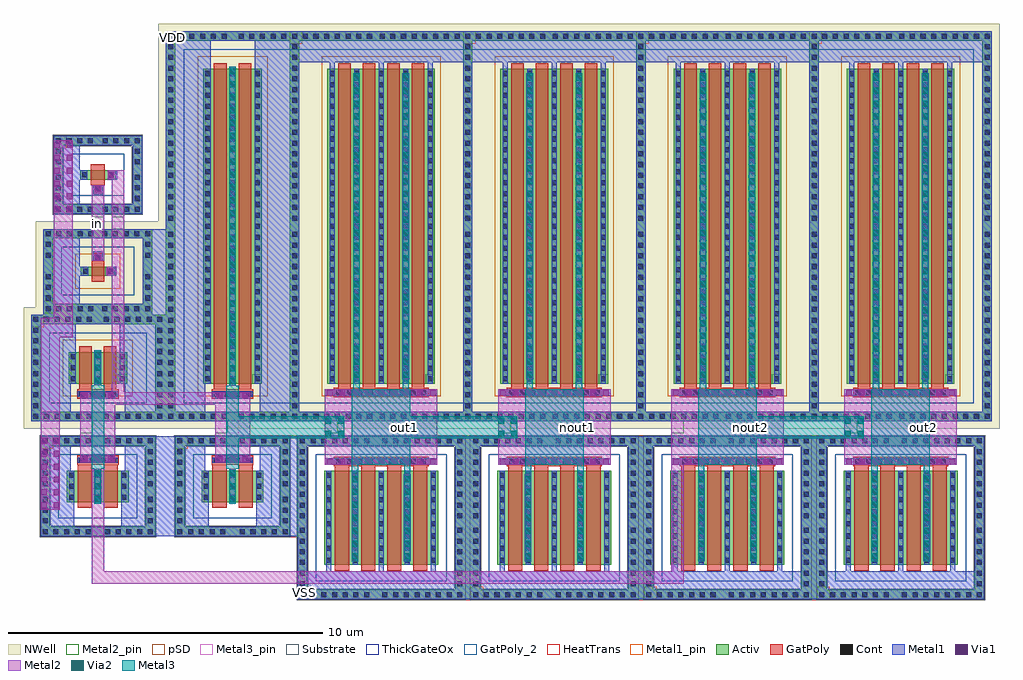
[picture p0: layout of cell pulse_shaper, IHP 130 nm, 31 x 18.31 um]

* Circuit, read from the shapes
.subckt pulse_shaper VDD VSS in nout1 nout2 out1 out2
XM1 hv_inverter_40u_5/in hv_inverter_0u3_1/out VSS VSS sg13_hv_nmos w=1u l=0.45u m=2
XM2 hv_inverter_0u3_1/out in VSS VSS sg13_hv_nmos w=0.3u l=0.45u
XM3 hv_inverter_40u_3/in hv_inverter_0u3_1/out VSS VSS sg13_hv_nmos w=1u l=0.45u m=2
XM4 out1 hv_inverter_40u_3/in VSS VSS sg13_hv_nmos w=3u l=0.45u m=4
XM5 nout1 out1 VSS VSS sg13_hv_nmos w=3u l=0.45u m=4
XM6 nout2 hv_inverter_40u_5/in VSS VSS sg13_hv_nmos w=3u l=0.45u m=4
XM7 out2 nout2 VSS VSS sg13_hv_nmos w=3u l=0.45u m=4
XM8 hv_inverter_40u_5/in hv_inverter_0u3_1/out VDD VDD sg13_hv_pmos w=1u l=0.4u m=2
XM9 hv_inverter_0u3_1/out in VDD VDD sg13_hv_pmos w=0.3u l=0.4u
XM10 hv_inverter_40u_3/in hv_inverter_0u3_1/out VDD VDD sg13_hv_pmos w=10u l=0.4u m=2
XM11 out1 hv_inverter_40u_3/in VDD VDD sg13_hv_pmos w=10u l=0.4u m=4
XM12 nout1 out1 VDD VDD sg13_hv_pmos w=10u l=0.4u m=4
XM13 nout2 hv_inverter_40u_5/in VDD VDD sg13_hv_pmos w=10u l=0.4u m=4
XM14 out2 nout2 VDD VDD sg13_hv_pmos w=10u l=0.4u m=4
.ends

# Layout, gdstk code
from math import pi, radians
import gdstk
lib = gdstk.Library(unit=1e-6, precision=1e-09)
def R(c, l, rs):  # rectangles x0, y0, x1, y1
    for r in rs: c.add(gdstk.rectangle(r[:2], r[2:], *l))
def A(c, l, x, y, w, h, nx, ny, dx, dy):  # array of equal rectangles
    R(c, l, [(x+i*dx, y+j*dy, x+i*dx+w, y+j*dy+h) for i in range(nx) for j in range(ny)])
def P(c, l, *ps):  # polygons
    for p in ps: c.add(gdstk.Polygon(p, *l))
Activ = (1, 0)
GatPoly = (5, 0)
GatPoly_2 = (5, 2)
Cont = (6, 0)
Metal1 = (8, 0)
Metal1_pin = (8, 2)
Metal2 = (10, 0)
Metal2_pin = (10, 2)
pSD = (14, 0)
Via1 = (19, 0)
Via2 = (29, 0)
Metal3 = (30, 0)
Metal3_pin = (30, 2)
NWell = (31, 0)
Substrate = (40, 0)
ThickGateOx = (44, 0)
HeatTrans = (51, 0)

via_stack_1 = lib.new_cell('via_stack$1')
R(via_stack_1, Metal1, [(-5.065,-0.105,5.065,0.105)])
R(via_stack_1, Metal2, [(-5.065,-0.1,5.065,0.1)])
A(via_stack_1, Via1, -5.015, -0.095, 0.19, 0.19, 25, 1, 0.41, 0)
A(via_stack_1, Via2, -5.015, -0.095, 0.19, 0.19, 25, 1, 0.41, 0)
R(via_stack_1, Metal3, [(-5.065,-0.1,5.065,0.1)])

via_stack = lib.new_cell('via_stack')
R(via_stack, Metal1, [(-0.555,-0.105,0.555,0.105)])
R(via_stack, Metal2, [(-0.555,-0.1,0.555,0.1)])
A(via_stack, Via1, -0.505, -0.095, 0.19, 0.19, 3, 1, 0.41, 0)
A(via_stack, Via2, -0.505, -0.095, 0.19, 0.19, 3, 1, 0.41, 0)
R(via_stack, Metal3, [(-0.555,-0.1,0.555,0.1)])

via_stack_2 = lib.new_cell('via_stack$2')
R(via_stack_2, GatPoly, [(-0.15,-0.66,0.15,0.66)])
A(via_stack_2, Cont, -0.08, -0.59, 0.16, 0.16, 1, 4, 0, 0.34)
R(via_stack_2, Metal1, [(-0.08,-0.64,0.08,0.64)])

via_stack_4 = lib.new_cell('via_stack$4')
R(via_stack_4, Metal1, [(-0.105,-0.555,0.105,0.555)])
R(via_stack_4, Metal2, [(-0.1,-0.555,0.1,0.555)])
A(via_stack_4, Via1, -0.095, -0.505, 0.19, 0.19, 1, 3, 0, 0.41)

pmoshv = lib.new_cell('pmosHV')
A(pmoshv, Activ, 0, 0, 0.3, 0.3, 3, 1, 0.78, 0)
R(pmoshv, Activ, [(-1.19,-0.89,-0.89,10.89), (2.75,-0.89,3.05,10.89), (0,0,1.86,10), (-1.19,10.89,3.05,11.19)])
P(pmoshv, Activ, [(-1.19,-1.19),(-1.19,10.89),(-0.89,10.89),(-0.89,-0.89),(2.75,-0.89),(2.75,10.89),(-1.19,10.89),(-1.19,11.19),(3.05,11.19),(3.05,-1.19)])
R(pmoshv, GatPoly, [(0.34,-0.18,0.74,10.18), (1.12,-0.18,1.52,10.18)])
R(pmoshv, GatPoly_2, [(0.34,-0.18,0.74,10.18)])
A(pmoshv, Cont, -1.12, -1.12, 0.16, 0.16, 6, 2, 0.34, 12.08)
A(pmoshv, Cont, 1.12, -1.12, 0.16, 0.16, 6, 2, 0.34, 12.08)
A(pmoshv, Cont, -1.12, -0.78, 0.16, 0.16, 1, 17, 0, 0.34)
A(pmoshv, Cont, 2.82, -0.78, 0.16, 0.16, 1, 17, 0, 0.34)
A(pmoshv, Cont, 0.07, 0.07, 0.16, 0.16, 3, 4, 0.78, 0.345)
A(pmoshv, Cont, 0.07, 1.455, 0.16, 0.16, 3, 3, 0.78, 0.345)
A(pmoshv, Cont, 0.07, 2.495, 0.16, 0.16, 3, 4, 0.78, 0.345)
A(pmoshv, Cont, 0.07, 3.88, 0.16, 0.16, 3, 3, 0.78, 0.345)
A(pmoshv, Cont, 0.07, 4.92, 0.16, 0.16, 3, 4, 0.78, 0.345)
A(pmoshv, Cont, -1.12, 5.18, 0.16, 0.16, 1, 17, 0, 0.34)
A(pmoshv, Cont, 2.82, 5.18, 0.16, 0.16, 1, 17, 0, 0.34)
A(pmoshv, Cont, 0.07, 6.305, 0.16, 0.16, 3, 3, 0.78, 0.345)
A(pmoshv, Cont, 0.07, 7.345, 0.16, 0.16, 3, 4, 0.78, 0.345)
A(pmoshv, Cont, 0.07, 8.73, 0.16, 0.16, 3, 3, 0.78, 0.345)
A(pmoshv, Cont, 0.07, 9.77, 0.16, 0.16, 3, 1, 0.78, 0)
A(pmoshv, Metal1, 0.07, 0, 0.16, 10, 3, 1, 0.78, 0)
R(pmoshv, Metal1, [(-1.19,-1.19,3.05,-0.89), (-1.19,-0.89,-0.89,10.89), (2.75,-0.89,3.05,10.89), (-1.19,10.89,3.05,11.19)])
R(pmoshv, Metal1_pin, [(0.07,0,0.23,10), (0.85,0,1.01,10)])
R(pmoshv, pSD, [(-0.18,-0.4,2.04,10.4)])
R(pmoshv, NWell, [(-1.43,-1.43,3.29,11.43), (-0.62,-0.62,2.48,10.62)])
R(pmoshv, Substrate, [(1.56,0,1.86,0.3)])
R(pmoshv, ThickGateOx, [(-0.62,-0.62,2.48,10.62)])
R(pmoshv, HeatTrans, [(0.34,-0.18,0.74,10.18), (1.12,-0.18,1.52,10.18)])
pmoshv.add(gdstk.Label('pmosHV', (0.54,5), layer=63, texttype=0))
pmoshv.add(gdstk.Label('well', (0.93,-1.04), layer=63, texttype=0))
pmoshv.add(gdstk.Label('pmos', (0.54,5), layer=51, texttype=0))
pmoshv.add(gdstk.Label('pmos', (1.32,5), layer=51, texttype=0))

nmoshv = lib.new_cell('nmosHV')
A(nmoshv, Activ, 0, 0, 0.3, 0.3, 3, 1, 0.83, 0)
R(nmoshv, Activ, [(-0.84,-0.79,-0.54,1.79), (2.5,-0.79,2.8,1.79), (0,0,1.96,1), (-0.84,1.79,2.8,2.09)])
P(nmoshv, Activ, [(-0.84,-1.09),(-0.84,1.79),(-0.54,1.79),(-0.54,-0.79),(2.5,-0.79),(2.5,1.79),(-0.84,1.79),(-0.84,2.09),(2.8,2.09),(2.8,-1.09)])
R(nmoshv, GatPoly, [(0.34,-0.18,0.79,1.18), (1.17,-0.18,1.62,1.18)])
R(nmoshv, GatPoly_2, [(0.34,-0.18,0.79,1.18)])
A(nmoshv, Cont, -0.77, -1.02, 0.16, 0.16, 5, 2, 0.34, 2.88)
A(nmoshv, Cont, 1.21, -1.02, 0.16, 0.16, 5, 2, 0.34, 2.88)
A(nmoshv, Cont, -0.77, -0.68, 0.16, 0.16, 1, 3, 0, 0.34)
A(nmoshv, Cont, 2.57, -0.68, 0.16, 0.16, 1, 3, 0, 0.34)
A(nmoshv, Cont, 0.07, 0.07, 0.16, 0.16, 3, 3, 0.83, 0.35)
A(nmoshv, Cont, -0.77, 0.5, 0.16, 0.16, 1, 4, 0, 0.34)
A(nmoshv, Cont, 2.57, 0.5, 0.16, 0.16, 1, 4, 0, 0.34)
A(nmoshv, Metal1, 0.07, 0, 0.16, 1, 3, 1, 0.83, 0)
R(nmoshv, Metal1, [(-0.84,-1.09,2.8,-0.79), (-0.84,-0.79,-0.54,1.79), (2.5,-0.79,2.8,1.79), (-0.84,1.79,2.8,2.09)])
R(nmoshv, Metal1_pin, [(0.07,0,0.23,1), (0.9,0,1.06,1)])
R(nmoshv, pSD, [(-0.87,-0.76,-0.51,1.76), (2.47,-0.76,2.83,1.76), (-0.87,1.76,2.83,2.12)])
P(nmoshv, pSD, [(-0.87,-1.12),(-0.87,1.76),(-0.51,1.76),(-0.51,-0.76),(2.47,-0.76),(2.47,1.76),(-0.87,1.76),(-0.87,2.12),(2.83,2.12),(2.83,-1.12)])
R(nmoshv, Substrate, [(-0.87,-0.76,-0.51,1.76), (2.47,-0.76,2.83,1.76), (-0.87,1.76,2.83,2.12)])
P(nmoshv, Substrate, [(-0.87,-1.12),(-0.87,1.76),(-0.51,1.76),(-0.51,-0.76),(2.47,-0.76),(2.47,1.76),(-0.87,1.76),(-0.87,2.12),(2.83,2.12),(2.83,-1.12)])
R(nmoshv, ThickGateOx, [(-0.27,-0.52,2.23,1.52)])
R(nmoshv, HeatTrans, [(0.34,-0.18,0.79,1.18), (1.17,-0.18,1.62,1.18)])
nmoshv.add(gdstk.Label('nmosHV', (0.565,0.5), layer=63, texttype=0))
nmoshv.add(gdstk.Label('sub!', (0.98,-0.94), layer=63, texttype=0))
nmoshv.add(gdstk.Label('nmosHV', (0.565,0.5), layer=51, texttype=0))
nmoshv.add(gdstk.Label('nmosHV', (1.395,0.5), layer=51, texttype=0))

high_th_inverter = lib.new_cell('high_th_inverter')
R(high_th_inverter, Metal1, [(-1.52,-3.12,-0.75,-1.33), (0.75,-3.12,1.52,-1.33), (-1.52,-1.33,-0.86,-0.54), (0.86,-1.33,1.52,-0.54), (-1.82,0.54,-0.86,1.43), (0.86,0.54,1.82,1.43), (-1.82,1.43,-0.7,12.32), (0.7,1.43,1.82,12.32)])
R(high_th_inverter, Metal1_pin, [(-1.82,-0.64,-1.42,-0.24), (-2.12,12.22,-1.72,12.62)])
R(high_th_inverter, Metal2, [(-0.555,-0.875,0.555,0.975)])
R(high_th_inverter, Metal2_pin, [(-0.555,-0.15,-0.155,0.25)])
R(high_th_inverter, Metal3_pin, [(-0.2,-0.15,0.2,0.25)])
high_th_inverter.add(gdstk.FlexPath([(0,1.365),(0,-1.275)], 0.4, ends="flush", simple_path=True, layer=30, datatype=0))  # Metal3
high_th_inverter.add(gdstk.Reference(via_stack_1, (0,6.43), rotation=pi/2))
high_th_inverter.add(gdstk.Reference(via_stack, (0,-1.83), rotation=pi/2))
high_th_inverter.add(gdstk.Reference(via_stack_2, (0,1.1), rotation=pi/2))
high_th_inverter.add(gdstk.Reference(via_stack_2, (0,-1), rotation=pi/2))
high_th_inverter.add(gdstk.Reference(via_stack_4, (0,-0.965), rotation=pi/2))
high_th_inverter.add(gdstk.Reference(via_stack_4, (0,1.055), rotation=pi/2))
high_th_inverter.add(gdstk.Reference(pmoshv, (-0.93,1.43)))
high_th_inverter.add(gdstk.Reference(nmoshv, (-0.98,-2.33)))
high_th_inverter.add(gdstk.Label('VSS', (-1.62,-0.44), layer=8, texttype=25))
high_th_inverter.add(gdstk.Label('VDD', (-1.92,12.42), layer=8, texttype=25))
high_th_inverter.add(gdstk.Label('vin', (-0.355,0.05), layer=10, texttype=25))
high_th_inverter.add(gdstk.Label('vout', (0,0.05), layer=30, texttype=25))

pmoshv_4 = lib.new_cell('pmosHV$4')
R(pmoshv_4, Activ, [(-1.19,-0.89,-0.89,1.19), (1.97,-0.89,2.27,1.19), (0,0,0.3,0.3), (0,0,1.08,0.3), (0.78,0,1.08,0.3), (-1.19,1.19,2.27,1.49)])
P(pmoshv_4, Activ, [(-1.19,-1.19),(-1.19,1.19),(-0.89,1.19),(-0.89,-0.89),(1.97,-0.89),(1.97,1.19),(-1.19,1.19),(-1.19,1.49),(2.27,1.49),(2.27,-1.19)])
R(pmoshv_4, GatPoly, [(0.34,-0.18,0.74,0.48)])
R(pmoshv_4, GatPoly_2, [(0.34,-0.18,0.74,0.48)])
A(pmoshv_4, Cont, -1.12, -1.12, 0.16, 0.16, 5, 2, 0.34, 2.38)
A(pmoshv_4, Cont, 0.68, -1.12, 0.16, 0.16, 5, 2, 0.34, 2.38)
A(pmoshv_4, Cont, -1.12, 0.24, 0.16, 0.16, 1, 3, 0, 0.34)
A(pmoshv_4, Cont, 2.04, 0.24, 0.16, 0.16, 1, 3, 0, 0.34)
R(pmoshv_4, Cont, [(-1.12,-0.78,-0.96,-0.62), (2.04,-0.78,2.2,-0.62), (-1.12,-0.44,-0.96,-0.28), (2.04,-0.44,2.2,-0.28), (0.07,0.07,0.23,0.23), (0.85,0.07,1.01,0.23)])
R(pmoshv_4, Metal1, [(-1.19,-1.19,2.27,-0.89), (-1.19,-0.89,-0.89,1.19), (1.97,-0.89,2.27,1.19), (0.07,0,0.23,0.3), (0.85,0,1.01,0.3), (-1.19,1.19,2.27,1.49)])
R(pmoshv_4, Metal1_pin, [(0.07,0,0.23,0.3), (0.85,0,1.01,0.3)])
R(pmoshv_4, pSD, [(-0.18,-0.4,1.26,0.7)])
R(pmoshv_4, NWell, [(-1.43,-1.43,2.51,1.73), (-0.62,-0.62,1.7,0.92)])
R(pmoshv_4, Substrate, [(0.78,0,1.08,0.3)])
R(pmoshv_4, ThickGateOx, [(-0.62,-0.62,1.7,0.92)])
R(pmoshv_4, HeatTrans, [(0.34,-0.18,0.74,0.48)])
pmoshv_4.add(gdstk.Label('pmosHV', (0.54,0.15), layer=63, texttype=0))
pmoshv_4.add(gdstk.Label('well', (0.54,-1.04), layer=63, texttype=0))
pmoshv_4.add(gdstk.Label('pmos', (0.54,0.15), layer=51, texttype=0))

nmoshv_4 = lib.new_cell('nmosHV$4')
R(nmoshv_4, Activ, [(-0.84,-0.79,-0.54,1.09), (1.67,-0.79,1.97,1.09), (0,0,0.3,0.3), (0,0,1.13,0.3), (0.83,0,1.13,0.3), (-0.84,1.09,1.97,1.39)])
P(nmoshv_4, Activ, [(-0.84,-1.09),(-0.84,1.09),(-0.54,1.09),(-0.54,-0.79),(1.67,-0.79),(1.67,1.09),(-0.84,1.09),(-0.84,1.39),(1.97,1.39),(1.97,-1.09)])
R(nmoshv_4, GatPoly, [(0.34,-0.18,0.79,0.48)])
R(nmoshv_4, GatPoly_2, [(0.34,-0.18,0.79,0.48)])
A(nmoshv_4, Cont, -0.77, -1.02, 0.16, 0.16, 4, 2, 0.34, 2.18)
A(nmoshv_4, Cont, 0.72, -1.02, 0.16, 0.16, 4, 2, 0.34, 2.18)
A(nmoshv_4, Cont, -0.77, 0.14, 0.16, 0.16, 1, 3, 0, 0.34)
A(nmoshv_4, Cont, 1.74, 0.14, 0.16, 0.16, 1, 3, 0, 0.34)
R(nmoshv_4, Cont, [(-0.77,-0.68,-0.61,-0.52), (1.74,-0.68,1.9,-0.52), (-0.77,-0.34,-0.61,-0.18), (1.74,-0.34,1.9,-0.18), (0.07,0.07,0.23,0.23), (0.9,0.07,1.06,0.23)])
R(nmoshv_4, Metal1, [(-0.84,-1.09,1.97,-0.79), (-0.84,-0.79,-0.54,1.09), (1.67,-0.79,1.97,1.09), (0.07,0,0.23,0.3), (0.9,0,1.06,0.3), (-0.84,1.09,1.97,1.39)])
R(nmoshv_4, Metal1_pin, [(0.07,0,0.23,0.3), (0.9,0,1.06,0.3)])
R(nmoshv_4, pSD, [(-0.87,-0.76,-0.51,1.06), (1.64,-0.76,2,1.06), (-0.87,1.06,2,1.42)])
P(nmoshv_4, pSD, [(-0.87,-1.12),(-0.87,1.06),(-0.51,1.06),(-0.51,-0.76),(1.64,-0.76),(1.64,1.06),(-0.87,1.06),(-0.87,1.42),(2,1.42),(2,-1.12)])
R(nmoshv_4, Substrate, [(-0.87,-0.76,-0.51,1.06), (1.64,-0.76,2,1.06), (-0.87,1.06,2,1.42)])
P(nmoshv_4, Substrate, [(-0.87,-1.12),(-0.87,1.06),(-0.51,1.06),(-0.51,-0.76),(1.64,-0.76),(1.64,1.06),(-0.87,1.06),(-0.87,1.42),(2,1.42),(2,-1.12)])
R(nmoshv_4, ThickGateOx, [(-0.27,-0.52,1.4,0.82)])
R(nmoshv_4, HeatTrans, [(0.34,-0.18,0.79,0.48)])
nmoshv_4.add(gdstk.Label('nmosHV', (0.565,0.15), layer=63, texttype=0))
nmoshv_4.add(gdstk.Label('sub!', (0.565,-0.94), layer=63, texttype=0))
nmoshv_4.add(gdstk.Label('nmosHV', (0.565,0.15), layer=51, texttype=0))

via_stack_6 = lib.new_cell('via_stack$6')
R(via_stack_6, GatPoly, [(-0.15,-0.15,0.15,0.15)])
R(via_stack_6, Cont, [(-0.08,-0.08,0.08,0.08)])
R(via_stack_6, Metal1, [(-0.145,-0.105,0.145,0.105)])
R(via_stack_6, Metal2, [(-0.145,-0.1,0.145,0.1)])
R(via_stack_6, Via1, [(-0.095,-0.095,0.095,0.095)])

via_stack_12 = lib.new_cell('via_stack$12')
R(via_stack_12, Metal1, [(-0.145,-0.105,0.145,0.105)])
R(via_stack_12, Metal2, [(-0.145,-0.1,0.145,0.1)])
R(via_stack_12, Via1, [(-0.095,-0.095,0.095,0.095)])

hv_inverter_0u3 = lib.new_cell('hv_inverter_0u3')
R(hv_inverter_0u3, Metal1, [(-1.105,-2.47,-0.57,-0.59), (-0.57,-1.68,-0.495,-1.38), (0.31,-1.68,0.61,-1.38), (-0.15,-1.2,0.15,-0.9), (-1.43,0.49,-0.57,2.57), (-0.15,0.9,0.15,1.2), (-0.57,1.38,-0.47,1.68), (0.285,1.38,0.585,1.68)])
R(hv_inverter_0u3, Metal1_pin, [(-1.405,-2.77,-1.005,-2.37), (-1.73,2.47,-1.33,2.87)])
R(hv_inverter_0u3, Metal2_pin, [(-0.2,-0.2,0.2,0.2), (0.44,-0.2,0.84,0.2)])
hv_inverter_0u3.add(gdstk.FlexPath([(0.64,-1.675),(0.64,1.675)], 0.4, ends="flush", simple_path=True, layer=10, datatype=0))  # Metal2
hv_inverter_0u3.add(gdstk.FlexPath([(0,1.195),(0,-1.195)], 0.4, ends="flush", simple_path=True, layer=10, datatype=0))  # Metal2
hv_inverter_0u3.add(gdstk.Reference(pmoshv_4, (-0.54,1.38)))
hv_inverter_0u3.add(gdstk.Reference(nmoshv_4, (-0.565,-1.68)))
hv_inverter_0u3.add(gdstk.Reference(via_stack_6, (0,-1.095)))
hv_inverter_0u3.add(gdstk.Reference(via_stack_6, (0,1.095)))
hv_inverter_0u3.add(gdstk.Reference(via_stack_12, (0.415,-1.53), rotation=pi/2))
hv_inverter_0u3.add(gdstk.Reference(via_stack_12, (0.39,1.53), rotation=pi/2))
hv_inverter_0u3.add(gdstk.Label('VSS', (-1.205,-2.57), layer=8, texttype=25))
hv_inverter_0u3.add(gdstk.Label('VDD', (-1.53,2.67), layer=8, texttype=25))
hv_inverter_0u3.add(gdstk.Label('in', (0,0), layer=10, texttype=25))
hv_inverter_0u3.add(gdstk.Label('out', (0.64,0), layer=10, texttype=25))

via_stack_9 = lib.new_cell('via_stack$9')
R(via_stack_9, Metal1, [(-0.555,-0.105,0.555,0.105)])
R(via_stack_9, Metal2, [(-0.555,-0.1,0.555,0.1)])
A(via_stack_9, Via1, -0.505, -0.095, 0.19, 0.19, 3, 1, 0.41, 0)
A(via_stack_9, Via2, -0.505, -0.095, 0.19, 0.19, 3, 1, 0.41, 0)
R(via_stack_9, Metal3, [(-0.555,-0.1,0.555,0.1)])

via_stack_2_2 = lib.new_cell('via_stack$2$2')
R(via_stack_2_2, GatPoly, [(-0.15,-0.66,0.15,0.66)])
A(via_stack_2_2, Cont, -0.08, -0.59, 0.16, 0.16, 1, 4, 0, 0.34)
R(via_stack_2_2, Metal1, [(-0.08,-0.64,0.08,0.64)])

via_stack_4_1 = lib.new_cell('via_stack$4$1')
R(via_stack_4_1, Metal1, [(-0.105,-0.555,0.105,0.555)])
R(via_stack_4_1, Metal2, [(-0.1,-0.555,0.1,0.555)])
A(via_stack_4_1, Via1, -0.095, -0.505, 0.19, 0.19, 1, 3, 0, 0.41)

pmoshv_3 = lib.new_cell('pmosHV$3')
A(pmoshv_3, Activ, 0, 0, 0.3, 0.3, 3, 1, 0.78, 0)
R(pmoshv_3, Activ, [(-1.19,-0.89,-0.89,1.89), (2.75,-0.89,3.05,1.89), (0,0,1.86,1), (-1.19,1.89,3.05,2.19)])
P(pmoshv_3, Activ, [(-1.19,-1.19),(-1.19,1.89),(-0.89,1.89),(-0.89,-0.89),(2.75,-0.89),(2.75,1.89),(-1.19,1.89),(-1.19,2.19),(3.05,2.19),(3.05,-1.19)])
R(pmoshv_3, GatPoly, [(0.34,-0.18,0.74,1.18), (1.12,-0.18,1.52,1.18)])
R(pmoshv_3, GatPoly_2, [(0.34,-0.18,0.74,1.18)])
A(pmoshv_3, Cont, -1.12, -1.12, 0.16, 0.16, 6, 2, 0.34, 3.08)
A(pmoshv_3, Cont, 1.12, -1.12, 0.16, 0.16, 6, 2, 0.34, 3.08)
A(pmoshv_3, Cont, -1.12, -0.78, 0.16, 0.16, 1, 4, 0, 0.34)
A(pmoshv_3, Cont, 2.82, -0.78, 0.16, 0.16, 1, 4, 0, 0.34)
A(pmoshv_3, Cont, 0.07, 0.07, 0.16, 0.16, 3, 3, 0.78, 0.35)
A(pmoshv_3, Cont, -1.12, 0.6, 0.16, 0.16, 1, 4, 0, 0.34)
A(pmoshv_3, Cont, 2.82, 0.6, 0.16, 0.16, 1, 4, 0, 0.34)
A(pmoshv_3, Metal1, 0.07, 0, 0.16, 1, 3, 1, 0.78, 0)
R(pmoshv_3, Metal1, [(-1.19,-1.19,3.05,-0.89), (-1.19,-0.89,-0.89,1.89), (2.75,-0.89,3.05,1.89), (-1.19,1.89,3.05,2.19)])
R(pmoshv_3, Metal1_pin, [(0.07,0,0.23,1), (0.85,0,1.01,1)])
R(pmoshv_3, pSD, [(-0.18,-0.4,2.04,1.4)])
R(pmoshv_3, NWell, [(-1.43,-1.43,3.29,2.43), (-0.62,-0.62,2.48,1.62)])
R(pmoshv_3, Substrate, [(1.56,0,1.86,0.3)])
R(pmoshv_3, ThickGateOx, [(-0.62,-0.62,2.48,1.62)])
R(pmoshv_3, HeatTrans, [(0.34,-0.18,0.74,1.18), (1.12,-0.18,1.52,1.18)])
pmoshv_3.add(gdstk.Label('pmosHV', (0.54,0.5), layer=63, texttype=0))
pmoshv_3.add(gdstk.Label('well', (0.93,-1.04), layer=63, texttype=0))
pmoshv_3.add(gdstk.Label('pmos', (0.54,0.5), layer=51, texttype=0))
pmoshv_3.add(gdstk.Label('pmos', (1.32,0.5), layer=51, texttype=0))

nmoshv_3 = lib.new_cell('nmosHV$3')
A(nmoshv_3, Activ, 0, 0, 0.3, 0.3, 3, 1, 0.83, 0)
R(nmoshv_3, Activ, [(-0.84,-0.79,-0.54,1.79), (2.5,-0.79,2.8,1.79), (0,0,1.96,1), (-0.84,1.79,2.8,2.09)])
P(nmoshv_3, Activ, [(-0.84,-1.09),(-0.84,1.79),(-0.54,1.79),(-0.54,-0.79),(2.5,-0.79),(2.5,1.79),(-0.84,1.79),(-0.84,2.09),(2.8,2.09),(2.8,-1.09)])
R(nmoshv_3, GatPoly, [(0.34,-0.18,0.79,1.18), (1.17,-0.18,1.62,1.18)])
R(nmoshv_3, GatPoly_2, [(0.34,-0.18,0.79,1.18)])
A(nmoshv_3, Cont, -0.77, -1.02, 0.16, 0.16, 5, 2, 0.34, 2.88)
A(nmoshv_3, Cont, 1.21, -1.02, 0.16, 0.16, 5, 2, 0.34, 2.88)
A(nmoshv_3, Cont, -0.77, -0.68, 0.16, 0.16, 1, 3, 0, 0.34)
A(nmoshv_3, Cont, 2.57, -0.68, 0.16, 0.16, 1, 3, 0, 0.34)
A(nmoshv_3, Cont, 0.07, 0.07, 0.16, 0.16, 3, 3, 0.83, 0.35)
A(nmoshv_3, Cont, -0.77, 0.5, 0.16, 0.16, 1, 4, 0, 0.34)
A(nmoshv_3, Cont, 2.57, 0.5, 0.16, 0.16, 1, 4, 0, 0.34)
A(nmoshv_3, Metal1, 0.07, 0, 0.16, 1, 3, 1, 0.83, 0)
R(nmoshv_3, Metal1, [(-0.84,-1.09,2.8,-0.79), (-0.84,-0.79,-0.54,1.79), (2.5,-0.79,2.8,1.79), (-0.84,1.79,2.8,2.09)])
R(nmoshv_3, Metal1_pin, [(0.07,0,0.23,1), (0.9,0,1.06,1)])
R(nmoshv_3, pSD, [(-0.87,-0.76,-0.51,1.76), (2.47,-0.76,2.83,1.76), (-0.87,1.76,2.83,2.12)])
P(nmoshv_3, pSD, [(-0.87,-1.12),(-0.87,1.76),(-0.51,1.76),(-0.51,-0.76),(2.47,-0.76),(2.47,1.76),(-0.87,1.76),(-0.87,2.12),(2.83,2.12),(2.83,-1.12)])
R(nmoshv_3, Substrate, [(-0.87,-0.76,-0.51,1.76), (2.47,-0.76,2.83,1.76), (-0.87,1.76,2.83,2.12)])
P(nmoshv_3, Substrate, [(-0.87,-1.12),(-0.87,1.76),(-0.51,1.76),(-0.51,-0.76),(2.47,-0.76),(2.47,1.76),(-0.87,1.76),(-0.87,2.12),(2.83,2.12),(2.83,-1.12)])
R(nmoshv_3, ThickGateOx, [(-0.27,-0.52,2.23,1.52)])
R(nmoshv_3, HeatTrans, [(0.34,-0.18,0.79,1.18), (1.17,-0.18,1.62,1.18)])
nmoshv_3.add(gdstk.Label('nmosHV', (0.565,0.5), layer=63, texttype=0))
nmoshv_3.add(gdstk.Label('sub!', (0.98,-0.94), layer=63, texttype=0))
nmoshv_3.add(gdstk.Label('nmosHV', (0.565,0.5), layer=51, texttype=0))
nmoshv_3.add(gdstk.Label('nmosHV', (1.395,0.5), layer=51, texttype=0))

low_th_inverter = lib.new_cell('low_th_inverter')
R(low_th_inverter, Metal1, [(-1.52,-3.12,-0.75,-1.33), (0.75,-3.12,1.52,-1.33), (-1.52,-1.33,-0.86,-0.54), (0.86,-1.33,1.52,-0.54), (-1.82,0.54,-0.86,1.43), (0.86,0.54,1.82,1.43), (-1.82,1.43,-0.7,3.32), (0.7,1.43,1.82,3.32)])
R(low_th_inverter, Metal1_pin, [(-1.82,-0.64,-1.42,-0.24), (-2.12,3.22,-1.72,3.62)])
R(low_th_inverter, Metal2, [(-0.555,-0.875,0.555,0.975)])
R(low_th_inverter, Metal2_pin, [(-0.555,-0.15,-0.155,0.25)])
R(low_th_inverter, Metal3_pin, [(-0.2,-0.15,0.2,0.25)])
low_th_inverter.add(gdstk.FlexPath([(0,1.375),(0,-1.275)], 0.4, ends="flush", simple_path=True, layer=30, datatype=0))  # Metal3
low_th_inverter.add(gdstk.Reference(via_stack_9, (0,1.93), rotation=pi/2))
low_th_inverter.add(gdstk.Reference(via_stack_9, (0,-1.83), rotation=pi/2))
low_th_inverter.add(gdstk.Reference(via_stack_2_2, (0,1.1), rotation=pi/2))
low_th_inverter.add(gdstk.Reference(via_stack_2_2, (0,-1), rotation=pi/2))
low_th_inverter.add(gdstk.Reference(via_stack_4_1, (0,-0.965), rotation=pi/2))
low_th_inverter.add(gdstk.Reference(via_stack_4_1, (0,1.055), rotation=pi/2))
low_th_inverter.add(gdstk.Reference(pmoshv_3, (-0.93,1.43)))
low_th_inverter.add(gdstk.Reference(nmoshv_3, (-0.98,-2.33)))
low_th_inverter.add(gdstk.Label('VDD', (-1.92,3.42), layer=8, texttype=25))
low_th_inverter.add(gdstk.Label('VSS', (-1.62,-0.44), layer=8, texttype=25))
low_th_inverter.add(gdstk.Label('vin', (-0.355,0.05), layer=10, texttype=25))
low_th_inverter.add(gdstk.Label('vout', (0,0.05), layer=30, texttype=25))

via_stack_2_3 = lib.new_cell('via_stack$2$3')
R(via_stack_2_3, Metal1, [(-0.105,-1.375,0.105,1.375)])
R(via_stack_2_3, Metal2, [(-0.1,-1.375,0.1,1.375)])
A(via_stack_2_3, Via1, -0.095, -1.325, 0.19, 0.19, 1, 7, 0, 0.41)
A(via_stack_2_3, Via2, -0.095, -1.325, 0.19, 0.19, 1, 7, 0, 0.41)
R(via_stack_2_3, Metal3, [(-0.1,-1.375,0.1,1.375)])

nmoshv_2 = lib.new_cell('nmosHV$2')
A(nmoshv_2, Activ, 0, 0, 0.3, 0.3, 5, 1, 0.83, 0)
R(nmoshv_2, Activ, [(-0.84,-0.79,-0.54,3.79), (4.16,-0.79,4.46,3.79), (0,0,3.62,3), (-0.84,3.79,4.46,4.09)])
P(nmoshv_2, Activ, [(-0.84,-1.09),(-0.84,3.79),(-0.54,3.79),(-0.54,-0.79),(4.16,-0.79),(4.16,3.79),(-0.84,3.79),(-0.84,4.09),(4.46,4.09),(4.46,-1.09)])
A(nmoshv_2, GatPoly, 0.34, -0.18, 0.45, 3.36, 4, 1, 0.83, 0)
R(nmoshv_2, GatPoly_2, [(0.34,-0.18,0.79,3.18)])
A(nmoshv_2, Cont, -0.77, -1.02, 0.16, 0.16, 7, 2, 0.34, 4.88)
A(nmoshv_2, Cont, 1.85, -1.02, 0.16, 0.16, 8, 2, 0.34, 4.88)
A(nmoshv_2, Cont, -0.77, -0.68, 0.16, 0.16, 1, 6, 0, 0.34)
A(nmoshv_2, Cont, 4.23, -0.68, 0.16, 0.16, 1, 6, 0, 0.34)
A(nmoshv_2, Cont, 0.07, 0.07, 0.16, 0.16, 5, 7, 0.83, 0.385)
A(nmoshv_2, Cont, -0.77, 1.48, 0.16, 0.16, 1, 7, 0, 0.34)
A(nmoshv_2, Cont, 4.23, 1.48, 0.16, 0.16, 1, 7, 0, 0.34)
A(nmoshv_2, Cont, 0.07, 2.77, 0.16, 0.16, 5, 1, 0.83, 0)
A(nmoshv_2, Metal1, 0.07, 0, 0.16, 3, 5, 1, 0.83, 0)
R(nmoshv_2, Metal1, [(-0.84,-1.09,4.46,-0.79), (-0.84,-0.79,-0.54,3.79), (4.16,-0.79,4.46,3.79), (-0.84,3.79,4.46,4.09)])
R(nmoshv_2, Metal1_pin, [(0.07,0,0.23,3), (0.9,0,1.06,3)])
R(nmoshv_2, pSD, [(-0.87,-0.76,-0.51,3.76), (4.13,-0.76,4.49,3.76), (-0.87,3.76,4.49,4.12)])
P(nmoshv_2, pSD, [(-0.87,-1.12),(-0.87,3.76),(-0.51,3.76),(-0.51,-0.76),(4.13,-0.76),(4.13,3.76),(-0.87,3.76),(-0.87,4.12),(4.49,4.12),(4.49,-1.12)])
R(nmoshv_2, Substrate, [(-0.87,-0.76,-0.51,3.76), (4.13,-0.76,4.49,3.76), (-0.87,3.76,4.49,4.12)])
P(nmoshv_2, Substrate, [(-0.87,-1.12),(-0.87,3.76),(-0.51,3.76),(-0.51,-0.76),(4.13,-0.76),(4.13,3.76),(-0.87,3.76),(-0.87,4.12),(4.49,4.12),(4.49,-1.12)])
R(nmoshv_2, ThickGateOx, [(-0.27,-0.52,3.89,3.52)])
A(nmoshv_2, HeatTrans, 0.34, -0.18, 0.45, 3.36, 4, 1, 0.83, 0)
nmoshv_2.add(gdstk.Label('nmosHV', (0.565,1.5), layer=63, texttype=0))
nmoshv_2.add(gdstk.Label('sub!', (1.81,-0.94), layer=63, texttype=0))
nmoshv_2.add(gdstk.Label('nmosHV', (0.565,1.5), layer=51, texttype=0))
nmoshv_2.add(gdstk.Label('nmosHV', (1.395,1.5), layer=51, texttype=0))
nmoshv_2.add(gdstk.Label('nmosHV', (2.225,1.5), layer=51, texttype=0))
nmoshv_2.add(gdstk.Label('nmosHV', (3.055,1.5), layer=51, texttype=0))

via_stack_6_1 = lib.new_cell('via_stack$6$1')
R(via_stack_6_1, Metal1, [(-0.105,-4.86,0.105,4.86)])
R(via_stack_6_1, Metal2, [(-0.1,-4.86,0.1,4.86)])
A(via_stack_6_1, Via1, -0.095, -4.81, 0.19, 0.19, 1, 24, 0, 0.41)
A(via_stack_6_1, Via2, -0.095, -4.81, 0.19, 0.19, 1, 24, 0, 0.41)
R(via_stack_6_1, Metal3, [(-0.1,-4.86,0.1,4.86)])

via_stack_8 = lib.new_cell('via_stack$8')
R(via_stack_8, GatPoly, [(-0.15,-1.51,0.15,1.51)])
A(via_stack_8, Cont, -0.08, -1.44, 0.16, 0.16, 1, 9, 0, 0.34)
R(via_stack_8, Metal1, [(-0.105,-1.785,0.105,1.785)])
R(via_stack_8, Metal2, [(-0.1,-1.785,0.1,1.785)])
A(via_stack_8, Via1, -0.095, -1.735, 0.19, 0.19, 1, 9, 0, 0.41)

pmoshv_2 = lib.new_cell('pmosHV$2')
A(pmoshv_2, Activ, 0, 0, 0.3, 0.3, 5, 1, 0.78, 0)
R(pmoshv_2, Activ, [(-1.19,-0.89,-0.89,10.89), (4.31,-0.89,4.61,10.89), (0,0,3.42,10), (-1.19,10.89,4.61,11.19)])
P(pmoshv_2, Activ, [(-1.19,-1.19),(-1.19,10.89),(-0.89,10.89),(-0.89,-0.89),(4.31,-0.89),(4.31,10.89),(-1.19,10.89),(-1.19,11.19),(4.61,11.19),(4.61,-1.19)])
A(pmoshv_2, GatPoly, 0.34, -0.18, 0.4, 10.36, 4, 1, 0.78, 0)
R(pmoshv_2, GatPoly_2, [(0.34,-0.18,0.74,10.18)])
A(pmoshv_2, Cont, -1.12, -1.12, 0.16, 0.16, 8, 2, 0.34, 12.08)
A(pmoshv_2, Cont, 1.66, -1.12, 0.16, 0.16, 9, 2, 0.34, 12.08)
A(pmoshv_2, Cont, -1.12, -0.78, 0.16, 0.16, 1, 17, 0, 0.34)
A(pmoshv_2, Cont, 4.38, -0.78, 0.16, 0.16, 1, 17, 0, 0.34)
A(pmoshv_2, Cont, 0.07, 0.07, 0.16, 0.16, 5, 4, 0.78, 0.345)
A(pmoshv_2, Cont, 0.07, 1.455, 0.16, 0.16, 5, 3, 0.78, 0.345)
A(pmoshv_2, Cont, 0.07, 2.495, 0.16, 0.16, 5, 4, 0.78, 0.345)
A(pmoshv_2, Cont, 0.07, 3.88, 0.16, 0.16, 5, 3, 0.78, 0.345)
A(pmoshv_2, Cont, 0.07, 4.92, 0.16, 0.16, 5, 4, 0.78, 0.345)
A(pmoshv_2, Cont, -1.12, 5.18, 0.16, 0.16, 1, 17, 0, 0.34)
A(pmoshv_2, Cont, 4.38, 5.18, 0.16, 0.16, 1, 17, 0, 0.34)
A(pmoshv_2, Cont, 0.07, 6.305, 0.16, 0.16, 5, 3, 0.78, 0.345)
A(pmoshv_2, Cont, 0.07, 7.345, 0.16, 0.16, 5, 4, 0.78, 0.345)
A(pmoshv_2, Cont, 0.07, 8.73, 0.16, 0.16, 5, 3, 0.78, 0.345)
A(pmoshv_2, Cont, 0.07, 9.77, 0.16, 0.16, 5, 1, 0.78, 0)
A(pmoshv_2, Metal1, 0.07, 0, 0.16, 10, 5, 1, 0.78, 0)
R(pmoshv_2, Metal1, [(-1.19,-1.19,4.61,-0.89), (-1.19,-0.89,-0.89,10.89), (4.31,-0.89,4.61,10.89), (-1.19,10.89,4.61,11.19)])
R(pmoshv_2, Metal1_pin, [(0.07,0,0.23,10), (0.85,0,1.01,10)])
R(pmoshv_2, pSD, [(-0.18,-0.4,3.6,10.4)])
R(pmoshv_2, NWell, [(-1.43,-1.43,4.85,11.43), (-0.62,-0.62,4.04,10.62)])
R(pmoshv_2, Substrate, [(3.12,0,3.42,0.3)])
R(pmoshv_2, ThickGateOx, [(-0.62,-0.62,4.04,10.62)])
A(pmoshv_2, HeatTrans, 0.34, -0.18, 0.4, 10.36, 4, 1, 0.78, 0)
pmoshv_2.add(gdstk.Label('pmosHV', (0.54,5), layer=63, texttype=0))
pmoshv_2.add(gdstk.Label('well', (1.71,-1.04), layer=63, texttype=0))
pmoshv_2.add(gdstk.Label('pmos', (0.54,5), layer=51, texttype=0))
pmoshv_2.add(gdstk.Label('pmos', (1.32,5), layer=51, texttype=0))
pmoshv_2.add(gdstk.Label('pmos', (2.1,5), layer=51, texttype=0))
pmoshv_2.add(gdstk.Label('pmos', (2.88,5), layer=51, texttype=0))

hv_inverter_40u = lib.new_cell('hv_inverter_40u')
A(hv_inverter_40u, Metal1, -1.74, -4.58, 0.16, 0.2, 3, 1, 1.66, 0)
A(hv_inverter_40u, Metal1, -1.64, 11.38, 0.16, 0.2, 3, 1, 1.56, 0)
R(hv_inverter_40u, Metal1, [(-2.35,-5.17,2.35,-4.58), (-2.6,11.58,2.6,12.27)])
R(hv_inverter_40u, Metal1_pin, [(-2.65,-5.47,-2.25,-5.07), (-2.9,12.17,-2.5,12.57)])
R(hv_inverter_40u, Metal2, [(-1.785,-1.195,1.785,1.195)])
R(hv_inverter_40u, Metal2_pin, [(-1.785,-0.2,-1.385,0.2)])
R(hv_inverter_40u, Metal3, [(-0.93,-1.195,0.93,1.195)])
R(hv_inverter_40u, Metal3_pin, [(0.53,-0.2,0.93,0.2)])
hv_inverter_40u.add(gdstk.FlexPath([(-0.83,-1.505),(-0.83,0),(-0.78,0),(-0.78,1.52)], 0.2, ends="flush", simple_path=True, layer=30, datatype=0))  # Metal3
hv_inverter_40u.add(gdstk.FlexPath([(0.83,-1.505),(0.83,0),(0.78,0),(0.78,1.52)], 0.2, ends="flush", simple_path=True, layer=30, datatype=0))  # Metal3
hv_inverter_40u.add(gdstk.Reference(via_stack_2_3, (-0.83,-2.88)))
hv_inverter_40u.add(gdstk.Reference(nmoshv_2, (-1.81,-4.38)))
hv_inverter_40u.add(gdstk.Reference(via_stack_2_3, (0.83,-2.88)))
hv_inverter_40u.add(gdstk.Reference(via_stack_6_1, (0.78,6.38), rotation=pi))
hv_inverter_40u.add(gdstk.Reference(via_stack_6_1, (-0.78,6.38), rotation=pi))
hv_inverter_40u.add(gdstk.Reference(via_stack_8, (0,-1.095), rotation=pi/2))
hv_inverter_40u.add(gdstk.Reference(via_stack_8, (0,1.095), rotation=pi/2))
hv_inverter_40u.add(gdstk.Reference(pmoshv_2, (-1.71,1.38)))
hv_inverter_40u.add(gdstk.Label('VSS', (-2.45,-5.27), layer=8, texttype=25))
hv_inverter_40u.add(gdstk.Label('VDD', (-2.7,12.37), layer=8, texttype=25))
hv_inverter_40u.add(gdstk.Label('in', (-1.585,0), layer=10, texttype=25))
hv_inverter_40u.add(gdstk.Label('out', (0.73,0), layer=30, texttype=25))

via_stack_10 = lib.new_cell('via_stack$10')
R(via_stack_10, Metal2, [(-0.35,-0.305,0.35,0.305)])
R(via_stack_10, Via2, [(-0.3,-0.3,-0.11,-0.11), (0.11,-0.3,0.3,-0.11), (-0.3,0.11,-0.11,0.3), (0.11,0.11,0.3,0.3)])
R(via_stack_10, Metal3, [(-0.35,-0.305,0.35,0.305)])

via_stack_11 = lib.new_cell('via_stack$11')
R(via_stack_11, Metal1, [(-1.17,-0.31,1.17,0.31)])
R(via_stack_11, Metal2, [(-1.17,-0.305,1.17,0.305)])
A(via_stack_11, Via1, -1.12, -0.3, 0.19, 0.19, 6, 2, 0.41, 0.41)

pulse_shaper = lib.new_cell('pulse_shaper')
A(pulse_shaper, Activ, 2.65, -5.47, 0.2, 5.18, 3, 1, 5.5, 0)
R(pulse_shaper, Activ, [(13.65,-0.69,14.05,-0.29), (13.65,-0.59,13.95,-0.29), (-6.88,0.19,-6.84,3.57), (-10.73,3.57,-7.27,3.61)])
A(pulse_shaper, Metal1, 2.65, -5.47, 0.2, 5.18, 3, 1, 5.5, 0)
R(pulse_shaper, Metal1, [(-7.18,-3.47,-6.54,-0.29), (-2.9,-3.47,-2.65,-0.29), (-6.88,0.19,-6.84,3.57), (-10.73,3.57,-7.27,3.61), (-7.27,3.57,-6.84,6.29), (-7.24,3.61,-6.84,4.01), (-7.04,3.61,-6.84,3.81)])
R(pulse_shaper, Metal1_pin, [(-2.65,-5.47,-2.25,-5.07), (-6.84,12.17,-6.44,12.57)])
R(pulse_shaper, Metal2_pin, [(-9.2,6.28,-8.8,6.68)])
A(pulse_shaper, pSD, 2.68, -5.5, 0.14, 5.24, 3, 1, 5.5, 0)
R(pulse_shaper, pSD, [(-2.87,-3.5,-2.68,-0.26)])
A(pulse_shaper, Metal3_pin, 0.53, -0.2, 0.4, 0.4, 4, 1, 5.5, 0)
A(pulse_shaper, ThickGateOx, -3.17, 0.76, 0.84, 11.24, 4, 1, 5.5, 0)
pulse_shaper.add(gdstk.FlexPath([(-8.36,4.805),(-8.36,0.905),(-5.275,0.905)], 0.4, ends="flush", simple_path=True, layer=10, datatype=0))  # Metal2
pulse_shaper.add(gdstk.FlexPath([(-9,-1.325),(-9,-4.78),(9.415,-4.78),(9.415,-1.195)], 0.4, ends="flush", simple_path=True, layer=10, datatype=0))  # Metal2
pulse_shaper.add(gdstk.FlexPath([(-10.51,-0.29),(-10.51,3.16),(-10.095,3.16),(-10.095,6.77)], 0.61, ends="flush", simple_path=True, layer=10, datatype=0))  # Metal2
pulse_shaper.add(gdstk.FlexPath([(-1.785,0),(-4.52,0)], 0.7, ends="flush", simple_path=True, layer=30, datatype=0))  # Metal3
pulse_shaper.add(gdstk.FlexPath([(3.715,0),(0.93,0)], 0.7, ends="flush", simple_path=True, layer=30, datatype=0))  # Metal3
pulse_shaper.add(gdstk.FlexPath([(14.715,0),(11.93,0)], 0.7, ends="flush", simple_path=True, layer=30, datatype=0))  # Metal3
pulse_shaper.add(gdstk.Reference(high_th_inverter, (-4.72,-0.05)))
pulse_shaper.add(gdstk.Reference(hv_inverter_0u3, (-9,6.48), x_reflection=True))
pulse_shaper.add(gdstk.Reference(low_th_inverter, (-9,-0.05)))
pulse_shaper.add(gdstk.Reference(hv_inverter_40u, (0,0)))
pulse_shaper.add(gdstk.Reference(hv_inverter_40u, (5.5,0)))
pulse_shaper.add(gdstk.Reference(hv_inverter_40u, (11,0)))
pulse_shaper.add(gdstk.Reference(hv_inverter_40u, (16.5,0)))
pulse_shaper.add(gdstk.Reference(via_stack_10, (-1.48,0), rotation=pi/2))
pulse_shaper.add(gdstk.Reference(via_stack_10, (4.02,0), rotation=pi/2))
pulse_shaper.add(gdstk.Reference(via_stack_11, (-10.095,7.94), rotation=pi/2))
pulse_shaper.add(gdstk.Reference(via_stack_10, (15.02,0), rotation=pi/2))
pulse_shaper.add(gdstk.Reference(via_stack_11, (-10.51,-1.46), rotation=pi/2))
pulse_shaper.add(gdstk.Label('VDD', (-6.64,12.37), layer=8, texttype=25))
pulse_shaper.add(gdstk.Label('VSS', (-2.45,-5.27), layer=8, texttype=25))
pulse_shaper.add(gdstk.Label('in', (-9,6.48), layer=10, texttype=25))
pulse_shaper.add(gdstk.Label('out1', (0.73,0), layer=30, texttype=25))
pulse_shaper.add(gdstk.Label('nout1', (6.23,0), layer=30, texttype=25))
pulse_shaper.add(gdstk.Label('nout2', (11.73,0), layer=30, texttype=25))
pulse_shaper.add(gdstk.Label('out2', (17.23,0), layer=30, texttype=25))

lib.write_gds('pulse_shaper.gds')
